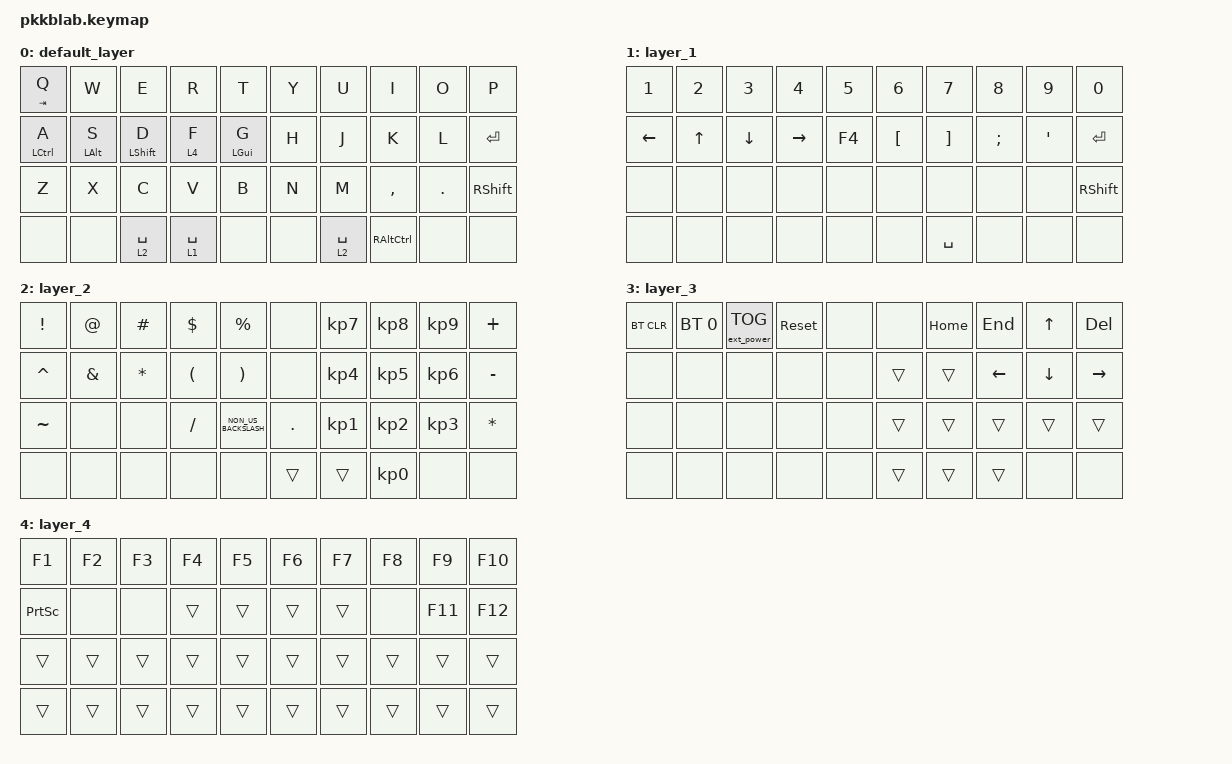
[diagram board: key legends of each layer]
#define ZMK_POINTING_DEFAULT_MOVE_VAL 2500  // default: 600
#define ZMK_POINTING_DEFAULT_SCRL_VAL 40    // default: 10

#include <behaviors.dtsi>
#include <dt-bindings/zmk/bt.h>
#include <dt-bindings/zmk/ext_power.h>
#include <dt-bindings/zmk/keys.h>

&mt {
    tapping-term-ms = <150>;
    flavor = "tap-preferred";
};

/ {
    behaviors {
        taptap: taptap {
            compatible = "zmk,behavior-hold-tap";
            label = "TAPTAP";
            bindings = <&kp>, <&kp>;

            #binding-cells = <2>;
            tapping-term-ms = <200>;
            quick-tap-ms = <180>;
            require-prior-idle-ms = <150>;
            flavor = "tap-preferred";
        };

        holdhold: holdhold {
            compatible = "zmk,behavior-hold-tap";
            label = "HOLDHOLD";
            bindings = <&mo>, <&kp>;

            #binding-cells = <2>;
            flavor = "tap-unless-interrupted";
            require-prior-idle-ms = <150>;
            tapping-term-ms = <200>;
            retro-tap;
            quick-tap-ms = <180>;
        };

        momotap: momotap {
            compatible = "zmk,behavior-hold-tap";
            label = "MOMOTAP";
            bindings = <&mo>, <&kp>;

            #binding-cells = <2>;
            tapping-term-ms = <200>;
            quick-tap-ms = <180>;
            require-prior-idle-ms = <150>;
            flavor = "tap-preferred";
        };

        RAltCtrl: RAltCtrl {
            compatible = "zmk,behavior-tap-dance";
            label = "RALTCTRL";
            #binding-cells = <0>;
            bindings = <&lt 3 RALT>, <&kp RCTRL>;

            tapping-term-ms = <150>;
        };
    };

    combos {
        compatible = "zmk,combos";

        BS {
            bindings = <&kp BACKSPACE>;
            key-positions = <8 9>;
            timeout-ms = <100>;
            layers = <0>;
        };

        BB {
            bindings = <&kp B>;
            key-positions = <25 26>;
            timeout-ms = <100>;
            layers = <0>;
        };

        YY {
            bindings = <&kp Y>;
            key-positions = <3 4>;
            timeout-ms = <100>;
            layers = <0>;
        };

        nn {
            bindings = <&kp N>;
            key-positions = <23 24>;
            timeout-ms = <100>;
            layers = <0>;
        };

        CR {
            bindings = <&kp CAPSLOCK>;
            key-positions = <10 11>;
            layers = <0>;
            timeout-ms = <100>;
        };

        ESCC {
            bindings = <&kp ESC>;
            key-positions = <0 1>;
            layers = <0>;
            timeout-ms = <100>;
        };

        QM {
            bindings = <&kp QUESTION>;
            key-positions = <28 29>;
            timeout-ms = <100>;
            layers = <0>;
        };
    };

    keymap {
        compatible = "zmk,keymap";

        default_layer {
            bindings = <
&mt TAB Q    &kp W           &kp E        &kp R        &kp T           &kp Y  &kp U        &kp I      &kp O    &kp P
&mt LCTRL A  &mt LEFT_ALT S  &mt LSHFT D  &lt 4 F      &mt LEFT_GUI G  &kp H  &kp J        &kp K      &kp L    &kp ENTER
&kp Z        &kp X           &kp C        &kp V        &kp B           &kp N  &kp M        &kp COMMA  &kp DOT  &kp RIGHT_SHIFT
&none        &none           &lt 2 SPACE  &lt 1 SPACE  &none           &none  &lt 2 SPACE  &RAltCtrl  &none    &none
            >;
        };

        layer_1 {
            bindings = <
&kp N1    &kp NUMBER_2  &kp NUMBER_3  &kp N4     &kp N5  &kp N6            &kp N7             &kp N8         &kp N9    &kp N0
&kp LEFT  &kp UP_ARROW  &kp DOWN      &kp RIGHT  &kp F4  &kp LEFT_BRACKET  &kp RIGHT_BRACKET  &kp SEMICOLON  &kp APOS  &kp ENTER
&none     &none         &none         &none      &none   &none             &none              &none          &none     &kp RSHFT
&none     &none         &none         &none      &none   &none             &kp SPACE          &none          &none     &none
            >;
        };

        layer_2 {
            bindings = <
&kp EXCLAMATION  &kp AT_SIGN    &kp HASH   &kp DOLLAR            &kp PERCENT            &none    &kp KP_N7  &kp KP_N8  &kp KP_N9  &kp PLUS
&kp CARET        &kp AMPERSAND  &kp ASTRK  &kp LEFT_PARENTHESIS  &kp RIGHT_PARENTHESIS  &none    &kp KP_N4  &kp KP_N5  &kp KP_N6  &kp MINUS
&kp TILDE        &none          &none      &kp SLASH             &kp NON_US_BACKSLASH   &kp DOT  &kp KP_N1  &kp KP_N2  &kp KP_N3  &kp ASTERISK
&none            &none          &none      &none                 &none                  &trans   &trans     &kp KP_N0  &none      &none
            >;
        };

        layer_3 {
            bindings = <
&bt BT_CLR  &bt BT_SEL 0  &ext_power EP_TOG  &sys_reset  &none  &none   &kp HOME  &kp END   &kp UP_ARROW  &kp DELETE
&none       &none         &none              &none       &none  &trans  &trans    &kp LEFT  &kp DOWN      &kp RIGHT
&none       &none         &none              &none       &none  &trans  &trans    &trans    &trans        &trans
&none       &none         &none              &none       &none  &trans  &trans    &trans    &none         &none
            >;
        };

        layer_4 {
            bindings = <
&kp F1           &kp F2  &kp F3  &kp F4  &kp F5  &kp F6  &kp F7  &kp F8  &kp F9   &kp F10
&kp PRINTSCREEN  &none   &none   &trans  &trans  &trans  &trans  &none   &kp F11  &kp F12
&trans           &trans  &trans  &trans  &trans  &trans  &trans  &trans  &trans   &trans
&trans           &trans  &trans  &trans  &trans  &trans  &trans  &trans  &trans   &trans
            >;
        };
    };
};
